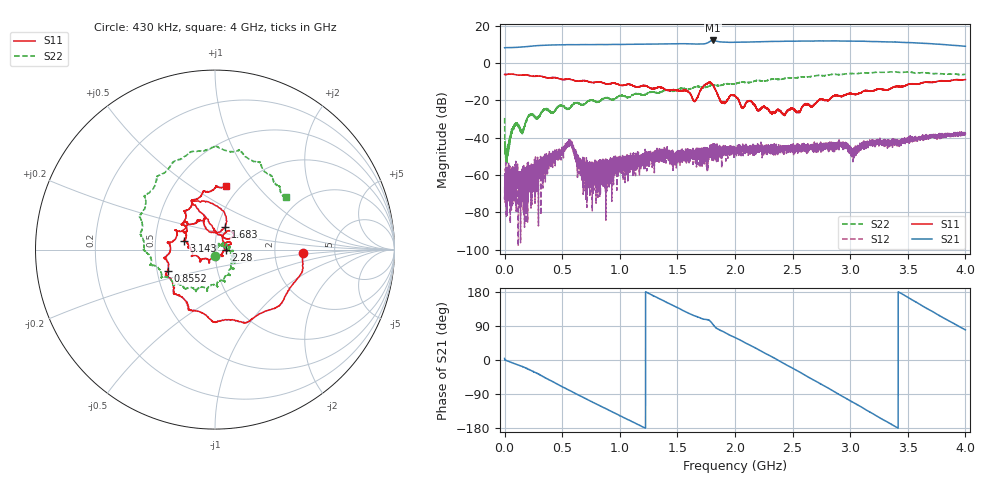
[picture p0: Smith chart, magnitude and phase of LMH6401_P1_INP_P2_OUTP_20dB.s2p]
!Keysight Technologies N9917A: A.08.18
!Date: Saturday, 27 May 2023 16:39:24
!Timezone: (GMT-07:00) Mountain Time (US & Canada)
!Model: N9917A
!Serial: MY52401314
!GPS Latitude:
!GPS Longitude:
!GPS TimeStamp: 0001-01-01 00:00:00Z
!GPS Seconds Since Last Read: 0
!CHECKSUM:1795447084
!Correction: S11(ON U)S21(ON U)S12(ON U)S22(ON U)
!S2P File: Measurements:S11,S21,S12,S22:
# Hz S DB R 50
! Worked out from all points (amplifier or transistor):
!   10000 points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, 430 kHz to 4 GHz, reference 50 ohm
!   highest |S21| = 12.0 dB at 1.81 GHz (marker M1)
!   |S21| within 3 dB of that: 241.4 MHz to 3.974 GHz (3.733 GHz wide, 177 % of centre)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
!   unconditionally stable (mu >= 1): start of sweep to end of sweep
!   at 666.8 MHz: K = 125.86, MAG = 10.3 dB, |S12| = -58.8 dB
!   at 2 GHz: K = 23.06, MAG = 11.4 dB, |S12| = -45.1 dB
!   at 4 GHz: K = 9.72, MAG = 10.7 dB, |S12| = -38.4 dB
!   S11 on the Smith chart (normalised r, x): 430 kHz: 2.90, -0.14; 855.2 MHz: 0.57, -0.15; 1.683 GHz: 1.08, +0.27; 2.28 GHz: 1.13, -0.00; 3.143 GHz: 0.70, +0.07; 4 GHz: 0.87, +0.70
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429997  -6.22 -2.2  8.09 4.1  -71.98 143.6  -29.51 -93.1
2.242983e7  -6.19 -6.3  8.19 -2.1  -66.18 101.2  -49.06 -86.8
9.122932e7  -6.29 -20.2  8.27 -10.4  -68.47 -168.2  -33.59 60.9
3.048277e8  -7.10 -66.8  9.31 -38.9  -53.11 108.4  -28.10 30.6
5.620258e8  -8.74 -114.0  9.75 -80.2  -44.80 -23.2  -24.31 4.8
6.67225e8  -9.72 -131.2  9.78 -96.2  -53.37 -125.2  -22.47 7.1
8.552236e8  -10.83 -155.8  9.81 -125.3  -54.14 -53.0  -19.41 -21.1
1.096422e9  -11.71 171.3  9.94 -161.0  -51.05 -26.5  -17.84 -45.8
1.33362e9  -13.06 135.8  10.12 163.1  -51.58 -49.8  -16.07 -67.2
1.682817e9  -17.35 66.0  10.10 112.9  -46.92 -99.9  -12.73 -101.0
1.774017e9  -10.64 113.5  11.11 105.0  -46.67 -102.7  -12.42 -113.5
1.809616e9  -11.80 114.8  12.00 93.6  -43.35 -103.9  -11.79 -114.8
2.000415e9  -17.65 53.0  11.00 59.3  -45.13 -138.6  -11.17 -134.8
2.279613e9  -24.24 -0.3  11.40 14.9  -47.40 -171.7  -9.47 -162.9
2.474011e9  -25.27 -82.0  11.60 -17.3  -45.30 171.8  -8.03 179.8
2.66681e9  -23.58 -127.9  11.67 -50.2  -44.01 147.5  -7.25 159.4
2.889608e9  -17.43 -164.0  11.74 -88.5  -43.42 130.3  -6.28 139.7
3.142806e9  -14.91 164.1  11.53 -132.6  -43.71 108.6  -5.32 113.4
3.333605e9  -14.22 144.1  11.20 -165.4  -43.31 84.3  -4.99 92.5
3.504804e9  -11.50 128.7  10.85 164.5  -41.17 77.9  -4.91 75.6
3.683202e9  -10.42 113.4  10.32 133.1  -40.19 56.7  -5.62 60.2
4e9  -8.94 79.8  8.85 79.5  -38.39 14.8  -6.09 36.2
